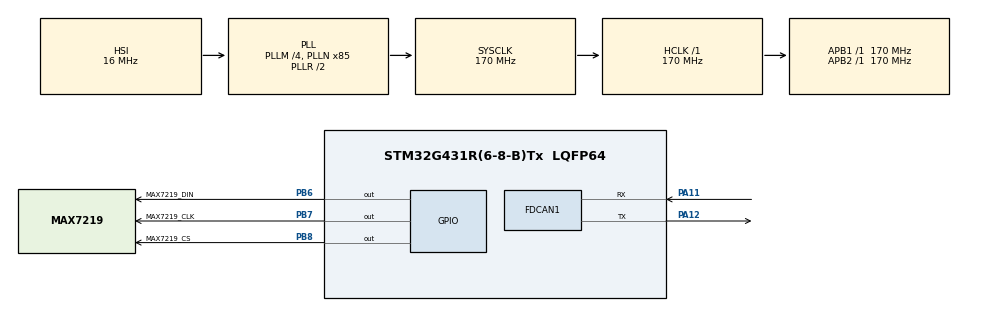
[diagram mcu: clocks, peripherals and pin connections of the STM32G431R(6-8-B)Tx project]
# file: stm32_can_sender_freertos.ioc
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FDCAN1.CalculateBaudRateNominal=499999
FDCAN1.CalculateTimeBitNominal=2000
FDCAN1.CalculateTimeQuantumNominal=117.64705882352942
FDCAN1.NominalPrescaler=20
FDCAN1.NominalTimeSeg1=13
FDCAN1.NominalTimeSeg2=3
FREERTOS.Tasks01=SignalGenerator,24,128,StartSignalGeneratorTask,Default,NULL,Dynamic,NULL,NULL;ProcessingTask,24,128,StartProcessingTask,Default,NULL,Dynamic,NULL,NULL;CanTxTask,32,128,StartCanTxTask,Default,NULL,Dynamic,NULL,NULL;StatusLedTask,8,128,StartStatusLedTask,Default,NULL,Dynamic,NULL,NULL;DisplayTask,8,128,StartDisplayTask,Default,NULL,Dynamic,NULL,NULL;FaultInjectTask,8,128,StartFaultInjectTask,Default,NULL,Dynamic,NULL,NULL
FREERTOS.configTOTAL_HEAP_SIZE=16384
FREERTOS.configUSE_NEWLIB_REENTRANT=1
Mcu.Family=STM32G4
Mcu.Name=STM32G431R(6-8-B)Tx
Mcu.Package=LQFP64
NUCLEO-G431RB.BUTTON=1
NUCLEO-G431RB.LD1=true
NUCLEO-G431RB.VCP=true
NVIC.EXTI15_10_IRQn=true\:5\:0\:false\:false\:true\:true\:false\:true\:true
NVIC.PriorityGroup=NVIC_PRIORITYGROUP_4
NVIC.TIM6_DAC_IRQn=true\:15\:0\:false\:false\:true\:false\:false\:true\:true
NVIC.TimeBase=TIM6_DAC_IRQn
NVIC.TimeBaseIP=TIM6
PA11.Mode=FDCAN_Activate
PA11.Signal=FDCAN1_RX
PA12.Mode=FDCAN_Activate
PA12.Signal=FDCAN1_TX
PA13.GPIO_Label=T_SWDIO
PA13.Signal=SYS_JTMS-SWDIO
PA14.GPIO_Label=T_SWCLK
PA14.Signal=SYS_JTCK-SWCLK
PA2.Signal=LPUART1_TX
PA3.Signal=LPUART1_RX
PB3.GPIO_Label=T_SWO
PB3.Signal=SYS_JTDO-SWO
PB6.GPIO_Label=MAX7219_DIN 
PB6.Signal=GPIO_Output
PB7.GPIO_Label=MAX7219_CLK
PB7.Signal=GPIO_Output
PB8-BOOT0.GPIO_Label=MAX7219_CS
PB8-BOOT0.Signal=GPIO_Output
PC14-OSC32_IN.GPIO_Label=RCC_OSC32_OUT
PC14-OSC32_IN.Signal=RCC_OSC32_IN
PC15-OSC32_OUT.GPIO_Label=RCC_OSC32_OUT
PC15-OSC32_OUT.Signal=RCC_OSC32_OUT
PF0-OSC_IN.GPIO_Label=RCC_OSC_IN
PF0-OSC_IN.Signal=RCC_OSC_IN
PF1-OSC_OUT.GPIO_Label=RCC_OSC_OUT
PF1-OSC_OUT.Signal=RCC_OSC_OUT
ProjectManager.HeapSize=0x200
ProjectManager.StackSize=0x400
ProjectManager.TargetToolchain=STM32CubeIDE
RCC.ADC12Freq_Value=170000000
RCC.AHBFreq_Value=170000000
RCC.APB1Freq_Value=170000000
RCC.APB1TimFreq_Value=170000000
RCC.APB2Freq_Value=170000000
RCC.APB2TimFreq_Value=170000000
RCC.CortexFreq_Value=170000000
RCC.EXTERNAL_CLOCK_VALUE=12288000
RCC.HCLKFreq_Value=170000000
RCC.HSE_VALUE=24000000
RCC.HSI48_VALUE=48000000
RCC.HSI_VALUE=16000000
RCC.LSE_VALUE=32768
RCC.PLLM=RCC_PLLM_DIV4
RCC.PLLN=85
RCC.RTCClockSelection=RCC_RTCCLKSOURCE_LSE
RCC.SYSCLKFreq_VALUE=170000000
RCC.SYSCLKSource=RCC_SYSCLKSOURCE_PLLCLK
RCC.USBFreq_Value=170000000
RCC.VCOOutputFreq_Value=340000000
VP_FREERTOS_VS_CMSIS_V2.Mode=CMSIS_V2
VP_NUCLEO-G431RB_VS_BSP_COMMON.Mode=COMMON
VP_SYS_VS_DBSignals.Mode=DisableDeadBatterySignals
VP_SYS_VS_tim6.Mode=TIM6
board=NUCLEO-G431RB

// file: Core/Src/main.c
/* USER CODE BEGIN Header */
/**
  ******************************************************************************
  * @file           : main.c
  * @brief          : Main program body
  ******************************************************************************
  * @attention
  *
  * Copyright (c) 2026 STMicroelectronics.
  * All rights reserved.
  *
  * This software is licensed under terms that can be found in the LICENSE file
  * in the root directory of this software component.
  * If no LICENSE file comes with this software, it is provided AS-IS.
  *
  ******************************************************************************
  */
/* USER CODE END Header */
#include "main.h"
#include "cmsis_os.h"

/* USER CODE BEGIN Includes */
#include "max7219.h"
#include "display_patterns.h"
/* USER CODE END Includes */

/* USER CODE BEGIN PTD */
typedef struct
{
    uint16_t ain1_raw;
    uint16_t ain2_raw;
    uint16_t ain3_raw;

    uint16_t battery_mV;
    uint16_t temperature_deciC;

    uint16_t speed_raw;
    uint16_t rpm;

    uint8_t status;
    uint8_t gear;
    uint8_t throttle_percent;
    uint8_t brake_percent;
    uint8_t counter;

    uint32_t timestamp_ms;
} SensorSample;

typedef struct
{
    uint16_t ain1_raw;
    uint16_t ain2_raw;
    uint16_t ain3_raw;

    uint16_t battery_mV;
    uint16_t temperature_deciC;

    uint16_t speed_raw;
    uint16_t rpm;

    uint8_t status;
    uint8_t gear;
    uint8_t throttle_percent;
    uint8_t brake_percent;
    uint8_t counter;

    uint32_t timestamp_ms;
    uint8_t valid;
} ProcessedTelemetry;

typedef enum {
  DEMO_MODE_NORMAL = 0,
  DEMO_MODE_HIGH_TEMP,
  DEMO_MODE_LOW_VOLTAGE,
  DEMO_MODE_SENSOR_INVALID
} DemoFaultMode;

/* USER CODE END PTD */

COM_InitTypeDef BspCOMInit;
FDCAN_HandleTypeDef hfdcan1;

/* Definitions for SignalGenerator */
osThreadId_t SignalGeneratorHandle;
const osThreadAttr_t SignalGenerator_attributes = {
  .name = "SignalGenerator",
  .priority = (osPriority_t) osPriorityNormal,
  .stack_size = 128 * 4
};
/* Definitions for ProcessingTask */
osThreadId_t ProcessingTaskHandle;
const osThreadAttr_t ProcessingTask_attributes = {
  .name = "ProcessingTask",
  .priority = (osPriority_t) osPriorityNormal,
  .stack_size = 128 * 4
};
/* Definitions for CanTxTask */
osThreadId_t CanTxTaskHandle;
const osThreadAttr_t CanTxTask_attributes = {
  .name = "CanTxTask",
  .priority = (osPriority_t) osPriorityAboveNormal,
  .stack_size = 128 * 4
};
/* Definitions for StatusLedTask */
osThreadId_t StatusLedTaskHandle;
const osThreadAttr_t StatusLedTask_attributes = {
  .name = "StatusLedTask",
  .priority = (osPriority_t) osPriorityLow,
  .stack_size = 128 * 4
};
/* Definitions for DisplayTask */
osThreadId_t DisplayTaskHandle;
const osThreadAttr_t DisplayTask_attributes = {
  .name = "DisplayTask",
  .priority = (osPriority_t) osPriorityLow,
  .stack_size = 128 * 4
};
/* Definitions for FaultInjectTask */
osThreadId_t FaultInjectTaskHandle;
const osThreadAttr_t FaultInjectTask_attributes = {
  .name = "FaultInjectTask",
  .priority = (osPriority_t) osPriorityLow,
  .stack_size = 128 * 4
};
/* USER CODE BEGIN PV */
static volatile uint8_t demoStarted = 0;
osMessageQueueId_t sensorQueueHandle;
osMutexId_t telemetryMutexHandle;

ProcessedTelemetry latestTelemetry = {0};

static volatile DemoFaultMode currentDemoMode = DEMO_MODE_NORMAL;

/* USER CODE END PV */

void SystemClock_Config(void);
static void MX_GPIO_Init(void);
static void MX_FDCAN1_Init(void);
void StartSignalGeneratorTask(void *argument);
void StartProcessingTask(void *argument);
void StartCanTxTask(void *argument);
void StartStatusLedTask(void *argument);
void StartDisplayTask(void *argument);
void StartFaultInjectTask(void *argument);

/* USER CODE BEGIN 0 */

static uint8_t is_demo_started(void)
{
  return demoStarted;
}

static void start_demo(void)
{
  demoStarted = 1;
}

static DemoFaultMode get_demo_mode(void)
{
  return currentDemoMode;
}

static void set_demo_mode(DemoFaultMode mode)
{
  currentDemoMode = mode;
}

static void poll_demo_start_button(void)
{
  if (!is_demo_started() && BSP_PB_GetState(BUTTON_USER) == GPIO_PIN_SET)
  {
    osDelay(30);

    if (BSP_PB_GetState(BUTTON_USER) == GPIO_PIN_SET)
    {
      start_demo();
    }
  }
}

/* USER CODE END 0 */

int main(void)
{

  /* MCU Configuration--------------------------------------------------------*/

  /* Reset of all peripherals, Initializes the Flash interface and the Systick. */
  HAL_Init();

  /* Configure the system clock */
  SystemClock_Config();

  /* Initialize all configured peripherals */
  MX_GPIO_Init();
  MX_FDCAN1_Init();
  /* USER CODE BEGIN 2 */

  if (HAL_FDCAN_Start(&hfdcan1) != HAL_OK)
  {
      Error_Handler();
  }

  MAX7219_Init();

  MAX7219_DisplayPattern(LED_PATTERN_CHECK);
  HAL_Delay(1000);

  MAX7219_DisplayPattern(LED_PATTERN_WARNING);
  HAL_Delay(1000);

  MAX7219_DisplayPattern(LED_PATTERN_FAULT_X);
  HAL_Delay(1000);

  MAX7219_DisplayPattern(LED_PATTERN_CHECK);

  /* USER CODE END 2 */

  /* Init scheduler */
  osKernelInitialize();

  /* USER CODE BEGIN RTOS_MUTEX */
  /* add mutexes, ... */
  telemetryMutexHandle = osMutexNew(NULL);
  /* USER CODE END RTOS_MUTEX */

  /* USER CODE BEGIN RTOS_QUEUES */
  /* add queues, ... */
  sensorQueueHandle = osMessageQueueNew(8, sizeof(SensorSample), NULL);

  if (sensorQueueHandle == NULL || telemetryMutexHandle == NULL)
  {
      Error_Handler();
  }
  /* USER CODE END RTOS_QUEUES */

  /* Create the thread(s) */
  /* creation of SignalGenerator */
  SignalGeneratorHandle = osThreadNew(StartSignalGeneratorTask, NULL, &SignalGenerator_attributes);

  /* creation of ProcessingTask */
  ProcessingTaskHandle = osThreadNew(StartProcessingTask, NULL, &ProcessingTask_attributes);

  /* creation of CanTxTask */
  CanTxTaskHandle = osThreadNew(StartCanTxTask, NULL, &CanTxTask_attributes);

  /* creation of StatusLedTask */
  StatusLedTaskHandle = osThreadNew(StartStatusLedTask, NULL, &StatusLedTask_attributes);

  /* creation of DisplayTask */
  DisplayTaskHandle = osThreadNew(StartDisplayTask, NULL, &DisplayTask_attributes);

  /* creation of FaultInjectTask */
  FaultInjectTaskHandle = osThreadNew(StartFaultInjectTask, NULL, &FaultInjectTask_attributes);

  /* Initialize leds */
  BSP_LED_Init(LED_GREEN);

  /* Initialize USER push-button, will be used to trigger an interrupt each time it's pressed.*/
  BSP_PB_Init(BUTTON_USER, BUTTON_MODE_GPIO);

  /* Initialize COM1 port (115200, 8 bits (7-bit data + 1 stop bit), no parity */
  BspCOMInit.BaudRate   = 115200;
  BspCOMInit.WordLength = COM_WORDLENGTH_8B;
  BspCOMInit.StopBits   = COM_STOPBITS_1;
  BspCOMInit.Parity     = COM_PARITY_NONE;
  BspCOMInit.HwFlowCtl  = COM_HWCONTROL_NONE;
  if (BSP_COM_Init(COM1, &BspCOMInit) != BSP_ERROR_NONE)
  {
    Error_Handler();
  }

  /* Start scheduler */
  osKernelStart();

  /* We should never get here as control is now taken by the scheduler */

  /* Infinite loop */
  while (1)
  {

  }
}

void SystemClock_Config(void)
{
  RCC_OscInitTypeDef RCC_OscInitStruct = {0};
  RCC_ClkInitTypeDef RCC_ClkInitStruct = {0};

  /** Configure the main internal regulator output voltage
  */
  HAL_PWREx_ControlVoltageScaling(PWR_REGULATOR_VOLTAGE_SCALE1_BOOST);

  /** Initializes the RCC Oscillators according to the specified parameters
  * in the RCC_OscInitTypeDef structure.
  */
  RCC_OscInitStruct.OscillatorType = RCC_OSCILLATORTYPE_HSI;
  RCC_OscInitStruct.HSIState = RCC_HSI_ON;
  RCC_OscInitStruct.HSICalibrationValue = RCC_HSICALIBRATION_DEFAULT;
  RCC_OscInitStruct.PLL.PLLState = RCC_PLL_ON;
  RCC_OscInitStruct.PLL.PLLSource = RCC_PLLSOURCE_HSI;
  RCC_OscInitStruct.PLL.PLLM = RCC_PLLM_DIV4;
  RCC_OscInitStruct.PLL.PLLN = 85;
  RCC_OscInitStruct.PLL.PLLP = RCC_PLLP_DIV2;
  RCC_OscInitStruct.PLL.PLLQ = RCC_PLLQ_DIV2;
  RCC_OscInitStruct.PLL.PLLR = RCC_PLLR_DIV2;
  if (HAL_RCC_OscConfig(&RCC_OscInitStruct) != HAL_OK)
  {
    Error_Handler();
  }

  /** Initializes the CPU, AHB and APB buses clocks
  */
  RCC_ClkInitStruct.ClockType = RCC_CLOCKTYPE_HCLK|RCC_CLOCKTYPE_SYSCLK
                              |RCC_CLOCKTYPE_PCLK1|RCC_CLOCKTYPE_PCLK2;
  RCC_ClkInitStruct.SYSCLKSource = RCC_SYSCLKSOURCE_PLLCLK;
  RCC_ClkInitStruct.AHBCLKDivider = RCC_SYSCLK_DIV1;
  RCC_ClkInitStruct.APB1CLKDivider = RCC_HCLK_DIV1;
  RCC_ClkInitStruct.APB2CLKDivider = RCC_HCLK_DIV1;

  if (HAL_RCC_ClockConfig(&RCC_ClkInitStruct, FLASH_LATENCY_4) != HAL_OK)
  {
    Error_Handler();
  }
}

static void MX_FDCAN1_Init(void)
{

  hfdcan1.Instance = FDCAN1;
  hfdcan1.Init.ClockDivider = FDCAN_CLOCK_DIV1;
  hfdcan1.Init.FrameFormat = FDCAN_FRAME_CLASSIC;
  hfdcan1.Init.Mode = FDCAN_MODE_NORMAL;
  hfdcan1.Init.AutoRetransmission = DISABLE;
  hfdcan1.Init.TransmitPause = DISABLE;
  hfdcan1.Init.ProtocolException = DISABLE;
  hfdcan1.Init.NominalPrescaler = 20;
  hfdcan1.Init.NominalSyncJumpWidth = 1;
  hfdcan1.Init.NominalTimeSeg1 = 13;
  hfdcan1.Init.NominalTimeSeg2 = 3;
  hfdcan1.Init.DataPrescaler = 1;
  hfdcan1.Init.DataSyncJumpWidth = 1;
  hfdcan1.Init.DataTimeSeg1 = 1;
  hfdcan1.Init.DataTimeSeg2 = 1;
  hfdcan1.Init.StdFiltersNbr = 0;
  hfdcan1.Init.ExtFiltersNbr = 0;
  hfdcan1.Init.TxFifoQueueMode = FDCAN_TX_FIFO_OPERATION;
  if (HAL_FDCAN_Init(&hfdcan1) != HAL_OK)
  {
    Error_Handler();
  }

}

static void MX_GPIO_Init(void)
{
  GPIO_InitTypeDef GPIO_InitStruct = {0};

  /* GPIO Ports Clock Enable */
  __HAL_RCC_GPIOC_CLK_ENABLE();
  __HAL_RCC_GPIOF_CLK_ENABLE();
  __HAL_RCC_GPIOA_CLK_ENABLE();
  __HAL_RCC_GPIOB_CLK_ENABLE();

  /*Configure GPIO pin Output Level */
  HAL_GPIO_WritePin(GPIOB, MAX7219_DIN_Pin|MAX7219_CLK_Pin|MAX7219_CS_Pin, GPIO_PIN_RESET);

  /*Configure GPIO pins : MAX7219_DIN_Pin MAX7219_CLK_Pin MAX7219_CS_Pin */
  GPIO_InitStruct.Pin = MAX7219_DIN_Pin|MAX7219_CLK_Pin|MAX7219_CS_Pin;
  GPIO_InitStruct.Mode = GPIO_MODE_OUTPUT_PP;
  GPIO_InitStruct.Pull = GPIO_NOPULL;
  GPIO_InitStruct.Speed = GPIO_SPEED_FREQ_LOW;
  HAL_GPIO_Init(GPIOB, &GPIO_InitStruct);

}

/* USER CODE BEGIN 4 */

static void display_scanner_sweep(void)
{
  const uint8_t sweep_delay_ms = 80;

  for (uint8_t col = 0; col < 8; col++)
  {
    uint8_t pattern[8];

    for (uint8_t row = 0; row < 8; row++)
    {
      pattern[row] = (uint8_t)(1U << col);
    }

    MAX7219_DisplayPattern(pattern);
    osDelay(sweep_delay_ms);

    poll_demo_start_button();

    if (is_demo_started())
    {
      return;
    }
  }

  for (int8_t col = 6; col >= 1; col--)
  {
    uint8_t pattern[8];

    for (uint8_t row = 0; row < 8; row++)
    {
      pattern[row] = (uint8_t)(1U << col);
    }

    MAX7219_DisplayPattern(pattern);
    osDelay(sweep_delay_ms);

    poll_demo_start_button();

    if (is_demo_started())
    {
      return;
    }
  }

  MAX7219_Clear();
  osDelay(150);

  poll_demo_start_button();
}

static void apply_demo_fault(ProcessedTelemetry *t, DemoFaultMode mode)
{
  if (t == NULL)
  {
    return;
  }

  /*
   * Start every demo mode from a known-good baseline.
   * This prevents the previous fault mode from leaking into the next mode.
   */
  t->battery_mV = 12600;
  t->temperature_deciC = 345;
  t->status = 0x07;

  switch (mode)
  {
    case DEMO_MODE_NORMAL:
      break;

    case DEMO_MODE_HIGH_TEMP:
      t->temperature_deciC = 950;
      break;

    case DEMO_MODE_LOW_VOLTAGE:
      t->battery_mV = 9500;
      break;

    case DEMO_MODE_SENSOR_INVALID:
      t->status = 0x06;
      break;

    default:
      break;
  }
}

static void pack_u16_le(uint8_t *data, uint8_t index, uint16_t value)
{
  data[index] = (uint8_t)(value & 0xFF);
  data[index + 1] = (uint8_t)((value >> 8) & 0xFF);
}

static void can_send(uint32_t id, uint8_t *data, uint8_t dlc)
{
  if (dlc != 8)
  {
    return;
  }

  FDCAN_TxHeaderTypeDef header;

  header.Identifier = id;
  header.IdType = FDCAN_STANDARD_ID;
  header.TxFrameType = FDCAN_DATA_FRAME;
  header.DataLength = FDCAN_DLC_BYTES_8;
  header.ErrorStateIndicator = FDCAN_ESI_ACTIVE;
  header.BitRateSwitch = FDCAN_BRS_OFF;
  header.FDFormat = FDCAN_CLASSIC_CAN;
  header.TxEventFifoControl = FDCAN_NO_TX_EVENTS;
  header.MessageMarker = 0;

  /*
   * Wait briefly for a free TX FIFO slot.
   * This prevents the 4th frame, 0x200, from being skipped
   * when 0x100, 0x101, and 0x102 are queued first.
   */
  uint32_t startTick = HAL_GetTick();

  while (HAL_FDCAN_GetTxFifoFreeLevel(&hfdcan1) == 0U)
  {
    if ((HAL_GetTick() - startTick) > 10U)
    {
      return;
    }

    osDelay(1);
  }

  if (HAL_FDCAN_AddMessageToTxFifoQ(&hfdcan1, &header, data) != HAL_OK)
  {
    Error_Handler();
  }
}

static void send_can_0x100(const ProcessedTelemetry *t)
{
  uint8_t data[8];

  pack_u16_le(data, 0, t->ain1_raw);
  pack_u16_le(data, 2, t->ain2_raw);
  pack_u16_le(data, 4, t->ain3_raw);

  data[6] = t->status;
  data[7] = t->counter;

  can_send(0x100, data, 8);
}

static void send_can_0x101(const ProcessedTelemetry *t)
{
  uint8_t data[8];

  pack_u16_le(data, 0, t->battery_mV);
  pack_u16_le(data, 2, t->temperature_deciC);

  data[4] = 0x00;
  data[5] = 0x00;
  data[6] = 0x00;
  data[7] = 0x00;

  can_send(0x101, data, 8);
}

static void send_can_0x102(const ProcessedTelemetry *t)
{
  uint8_t data[8];

  data[0] = t->status;
  data[1] = 0x00;
  data[2] = 0x01;
  data[3] = 0x00;
  data[4] = 0x00;
  data[5] = 0x00;
  data[6] = 0x00;
  data[7] = 0x00;

  can_send(0x102, data, 8);
}

static void send_can_0x200(const ProcessedTelemetry *t)
{
  uint8_t data[8];

  pack_u16_le(data, 0, t->speed_raw);
  pack_u16_le(data, 2, t->rpm);

  data[4] = t->gear;
  data[5] = t->throttle_percent;
  data[6] = t->brake_percent;
  data[7] = t->counter;

  can_send(0x200, data, 8);
}

/* USER CODE END 4 */

void StartSignalGeneratorTask(void *argument)
{
  /* USER CODE BEGIN 5 */

  SensorSample sample;

  uint16_t fake_adc = 1000;
  uint16_t fake_speed = 550;
  uint16_t fake_rpm = 3200;
  uint8_t fake_throttle = 42;
  uint8_t counter = 0;

  for (;;)
  {
    fake_adc += 25;

    if (fake_adc > 3500)
    {
      fake_adc = 1000;
    }

    fake_speed += 2;

    if (fake_speed > 700)
    {
      fake_speed = 550;
    }

    fake_rpm += 25;

    if (fake_rpm > 4200)
    {
      fake_rpm = 3200;
    }

    fake_throttle++;

    if (fake_throttle > 60)
    {
      fake_throttle = 35;
    }

    sample.ain1_raw = fake_adc;
    sample.ain2_raw = fake_adc + 100;
    sample.ain3_raw = fake_adc + 200;

    sample.battery_mV = 12600 + (counter % 20);
    sample.temperature_deciC = 345 + (counter % 10);

    sample.speed_raw = fake_speed;
    sample.rpm = fake_rpm;

    sample.status = 0x07;
    sample.gear = 3;
    sample.throttle_percent = fake_throttle;
    sample.brake_percent = 0;
    sample.counter = counter;
    sample.timestamp_ms = HAL_GetTick();

    osMessageQueuePut(sensorQueueHandle, &sample, 0U, 0U);

    counter++;

    osDelay(10);
  }

  /* USER CODE END 5 */
}

void StartProcessingTask(void *argument)
{
  /* USER CODE BEGIN StartProcessingTask */

  SensorSample sample;

  for (;;)
  {
    if (osMessageQueueGet(sensorQueueHandle, &sample, NULL, osWaitForever) == osOK)
    {
      if (osMutexAcquire(telemetryMutexHandle, osWaitForever) == osOK)
      {
        latestTelemetry.ain1_raw = sample.ain1_raw;
        latestTelemetry.ain2_raw = sample.ain2_raw;
        latestTelemetry.ain3_raw = sample.ain3_raw;

        latestTelemetry.battery_mV = sample.battery_mV;
        latestTelemetry.temperature_deciC = sample.temperature_deciC;

        latestTelemetry.speed_raw = sample.speed_raw;
        latestTelemetry.rpm = sample.rpm;

        latestTelemetry.status = sample.status;
        latestTelemetry.gear = sample.gear;
        latestTelemetry.throttle_percent = sample.throttle_percent;
        latestTelemetry.brake_percent = sample.brake_percent;

        /*
         * Do NOT copy sample.counter here.
         * CanTxTask owns the CAN transmit counter.
         */

        latestTelemetry.timestamp_ms = sample.timestamp_ms;
        latestTelemetry.valid = 1;

        osMutexRelease(telemetryMutexHandle);
      }
    }
  }

  /* USER CODE END StartProcessingTask */
}

void StartCanTxTask(void *argument)
{
  /* USER CODE BEGIN StartCanTxTask */

  ProcessedTelemetry local = {0};

  for (;;)
  {
    osDelay(100);

    if (osMutexAcquire(telemetryMutexHandle, osWaitForever) == osOK)
    {
      local = latestTelemetry;

      DemoFaultMode mode = get_demo_mode();

      if (latestTelemetry.valid)
      {
        latestTelemetry.counter++;
      }

      osMutexRelease(telemetryMutexHandle);

      if (local.valid)
      {
        apply_demo_fault(&local, mode);

        send_can_0x100(&local);
        osDelay(2);

        send_can_0x101(&local);
        osDelay(2);

        send_can_0x102(&local);
        osDelay(2);

        send_can_0x200(&local);
      }
    }
  }

  /* USER CODE END StartCanTxTask */
}
void StartStatusLedTask(void *argument)
{
  /* USER CODE BEGIN StartStatusLedTask */
	 for(;;)
	  {
	    BSP_LED_Toggle(LED_GREEN);
	    osDelay(500);
	  }
  /* USER CODE END StartStatusLedTask */
}

void StartDisplayTask(void *argument)
{
  /* USER CODE BEGIN StartDisplayTask */

  MAX7219_Init();
  MAX7219_Clear();

  while (!is_demo_started())
  {
    display_scanner_sweep();
  }

  MAX7219_DisplayPattern(LED_PATTERN_CHECK);
  osDelay(500);

  for (;;)
  {
    DemoFaultMode mode = get_demo_mode();

    switch (mode)
    {
      case DEMO_MODE_NORMAL:
        MAX7219_DisplayPattern(LED_PATTERN_CHECK);
        osDelay(250);
        break;

      case DEMO_MODE_HIGH_TEMP:
        MAX7219_DisplayPattern(LED_PATTERN_WARNING);
        osDelay(250);
        MAX7219_Clear();
        osDelay(250);
        break;

      case DEMO_MODE_LOW_VOLTAGE:
      case DEMO_MODE_SENSOR_INVALID:
        MAX7219_DisplayPattern(LED_PATTERN_FAULT_X);
        osDelay(250);
        MAX7219_Clear();
        osDelay(250);
        break;

      default:
        MAX7219_DisplayPattern(LED_PATTERN_FAULT_X);
        osDelay(250);
        break;
    }
  }

  /* USER CODE END StartDisplayTask */
}

void StartFaultInjectTask(void *argument)
{
  /* USER CODE BEGIN StartFaultInjectTask */

  set_demo_mode(DEMO_MODE_NORMAL);

  while (!is_demo_started())
  {
    poll_demo_start_button();
    osDelay(50);
  }

  for (;;)
  {
    set_demo_mode(DEMO_MODE_NORMAL);
    osDelay(5000);

    set_demo_mode(DEMO_MODE_HIGH_TEMP);
    osDelay(3000);

    set_demo_mode(DEMO_MODE_LOW_VOLTAGE);
    osDelay(3000);

    set_demo_mode(DEMO_MODE_SENSOR_INVALID);
    osDelay(3000);
  }

  /* USER CODE END StartFaultInjectTask */
}

void HAL_TIM_PeriodElapsedCallback(TIM_HandleTypeDef *htim)
{
  if (htim->Instance == TIM6)
  {
    HAL_IncTick();
  }
}

void Error_Handler(void)
{
  __disable_irq();
  while (1)
  {
  }
}
